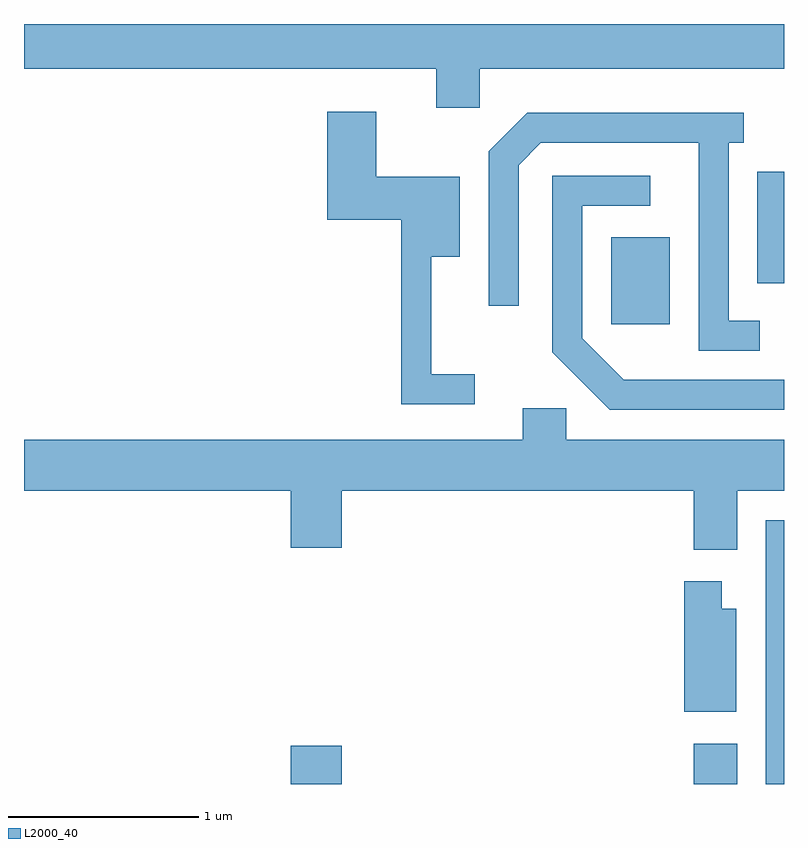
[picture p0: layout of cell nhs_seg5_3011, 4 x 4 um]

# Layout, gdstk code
import gdstk
lib = gdstk.Library(unit=1e-6, precision=1e-09)
def R(c, l, rs):  # rectangles x0, y0, x1, y1
    for r in rs: c.add(gdstk.rectangle(r[:2], r[2:], *l))
def P(c, l, *ps):  # polygons
    for p in ps: c.add(gdstk.Polygon(p, *l))
L2000_40 = (2000, 40)

nhs_seg5_3011 = lib.new_cell('nhs_seg5_3011')
R(nhs_seg5_3011, L2000_40, [(275.016,1524.072,275.284,1524.274), (277.136,1524.072,277.364,1524.284), (277.516,1524.072,277.611,1525.459), (276.701,1526.491,277.009,1526.949), (277.471,1526.708,277.611,1527.294)])
P(nhs_seg5_3011, L2000_40, [(276.009,1527.836),(277.611,1527.836),(277.611,1528.072),(273.611,1528.072),(273.611,1527.836),(275.781,1527.836),(275.781,1527.631),(276.009,1527.631)],
  [(275.983,1526.229),(275.754,1526.229),(275.754,1526.846),(275.904,1526.846),(275.904,1527.269),(275.464,1527.269),(275.464,1527.609),(275.206,1527.609),(275.206,1527.041),(275.596,1527.041),(275.596,1526.071),(275.983,1526.071)],
  [(277.483,1526.509),(277.319,1526.509),(277.319,1527.446),(277.398,1527.446),(277.398,1527.604),(276.259,1527.604),(276.056,1527.402),(276.056,1526.588),(276.214,1526.588),(276.214,1527.329),(276.332,1527.446),(277.161,1527.446),(277.161,1526.351),(277.483,1526.351)],
  [(277.611,1526.199),(276.767,1526.199),(276.549,1526.417),(276.549,1527.116),(276.908,1527.116),(276.908,1527.274),(276.391,1527.274),(276.391,1526.344),(276.694,1526.041),(277.611,1526.041)],
  [(276.464,1526.049),(276.236,1526.049),(276.236,1525.884),(273.611,1525.884),(273.611,1525.616),(275.016,1525.616),(275.016,1525.316),(275.284,1525.316),(275.284,1525.616),(277.136,1525.616),(277.136,1525.306),(277.364,1525.306),(277.364,1525.616),(277.611,1525.616),(277.611,1525.884),(276.464,1525.884)],
  [(277.359,1524.994),(277.284,1524.994),(277.284,1525.139),(277.086,1525.139),(277.086,1524.451),(277.359,1524.451)])

lib.write_gds('nhs_seg5_3011.gds')
